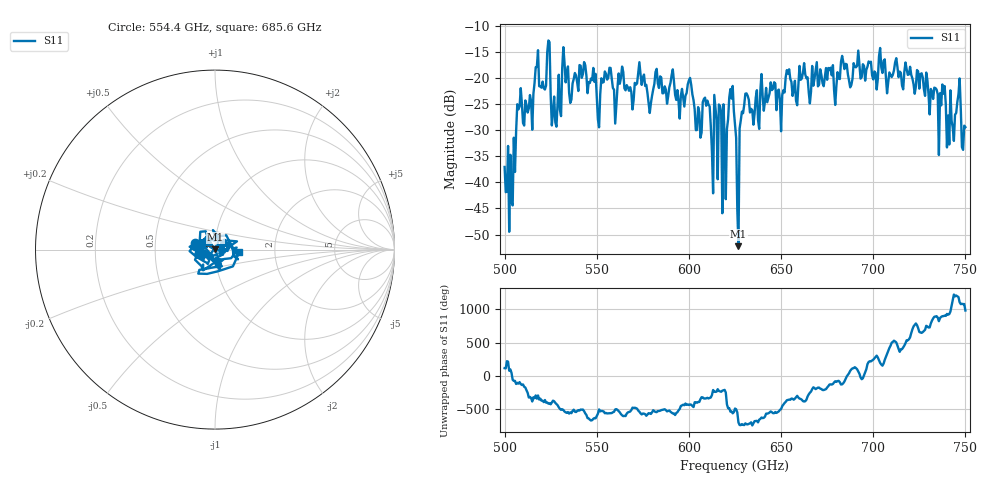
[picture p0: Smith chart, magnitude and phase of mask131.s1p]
!Created with skrf (http://scikit-rf.org).
# GHz S MA R 50.0
!freq magS11 angS11
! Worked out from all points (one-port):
!   401 points, 500 GHz to 750 GHz, reference 50 ohm
!   lowest |S11| = -52.2 dB at 626.9 GHz (marker M1), VSWR 1.00, Z = 50.2 + j0.0897 ohm
!   |S11| at or under -10 dB: start of sweep to end of sweep
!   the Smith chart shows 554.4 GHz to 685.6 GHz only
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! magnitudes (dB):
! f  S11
! 500 GHz  -37.0
! 503.8 GHz  -43.8
! 508.1 GHz  -25.5
! 513.8 GHz  -23.3
! 516.9 GHz  -17.9
! 523.8 GHz  -12.8
! 526.9 GHz  -23.5
! 531.2 GHz  -18.1
! 542.5 GHz  -19.2
! 551.2 GHz  -29.4
! 562.5 GHz  -21.1
! 593.8 GHz  -22.3
! 600.6 GHz  -20.0
! 605.6 GHz  -26.6
! 609.4 GHz  -25.3
! 619.4 GHz  -31.6
! 623.1 GHz  -23.9
! 625 GHz  -28.9
! 626.9 GHz  -52.2
! 628.8 GHz  -26.4
! 631.2 GHz  -22.9
! 656.2 GHz  -23.4
! 687.5 GHz  -21.8
! 718.8 GHz  -19.4
! 737.5 GHz  -21.2
! 741.2 GHz  -32.7
! 746.2 GHz  -23.1
! 750 GHz  -29.4
